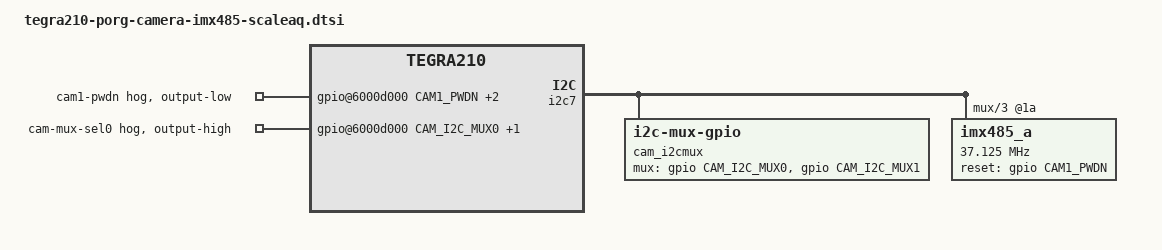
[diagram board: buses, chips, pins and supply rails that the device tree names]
/*
 * tegra210-porg-camera-imx485.dtsi - imx485 sensor device tree
 *
 * Copyright (c) 2019. FRAMOS.  All rights reserved.
 *
 * This program is free software; you can redistribute it and/or modify it
 * under the terms and conditions of the GNU General Public License,
 * version 2, as published by the Free Software Foundation.
 *
 * This program is distributed in the hope it will be useful, but WITHOUT
 * ANY WARRANTY; without even the implied warranty of MERCHANTABILITY or
 * FITNESS FOR A PARTICULAR PURPOSE.  See the GNU General Public License for
 * more details.
 *
 * You should have received a copy of the GNU General Public License
 * along with this program.  If not, see <http://www.gnu.org/licenses/>.
 */

#include "tegra210-camera-imx485-scaleaq.dtsi"
#include <dt-bindings/clock/tegra210-car.h>

#define CAM1_PWDN		TEGRA_GPIO(S, 7)
#define CAM2_PWDN_NEW	TEGRA_GPIO(I, 2)
#define CAM3_PWDN		TEGRA_GPIO(T, 0) // 4 lanes
#define CAM_I2C_MUX0 TEGRA_GPIO(I, 0) // NFC_EN GPIO
#define CAM_I2C_MUX1 TEGRA_GPIO(I, 1) // NFC_INT GPIO

/ {
	cam_i2cmux {
		compatible = "i2c-mux-gpio";
		#address-cells = <1>;
		#size-cells = <0>;
		mux-gpios = <&gpio CAM_I2C_MUX0 GPIO_ACTIVE_HIGH &gpio CAM_I2C_MUX1 GPIO_ACTIVE_HIGH>;
		i2c-parent = <&i2c7>;
		status = "okay";

		i2c@0 {
			status = "okay";
			reg = <3>;
			#address-cells = <1>;
			#size-cells = <0>;

			imx485_a@1a {
				/* Define any required hw resources needed by driver */
				/* ie. clocks, io pins, power sources */
				clocks = <&tegra_car TEGRA210_CLK_CLK_OUT_3>;
				clock-names = "clk_out_3";
				mclk = "clk_out_3";
				clock-frequency = <37125000>;
				reset-gpios = <&gpio CAM1_PWDN GPIO_ACTIVE_HIGH>;
			};
		};
	};

	gpio@6000d000 {
		camera-control-output-low {
			gpio-hog;
			output-low;
			gpios = < CAM1_PWDN 0  CAM2_PWDN_NEW 0 CAM3_PWDN 0>;
			label = "cam1-pwdn", "cam2-pwdn", "cam3-pwdn";
		};

		camera-mux-port-0 {
			gpio-hog;
			output-high;
			gpios = <CAM_I2C_MUX0 0 CAM_I2C_MUX1 0>;
			label = "cam-mux-sel0","cam-mux-sel1";
			status = "okay";
		};
	};
};
